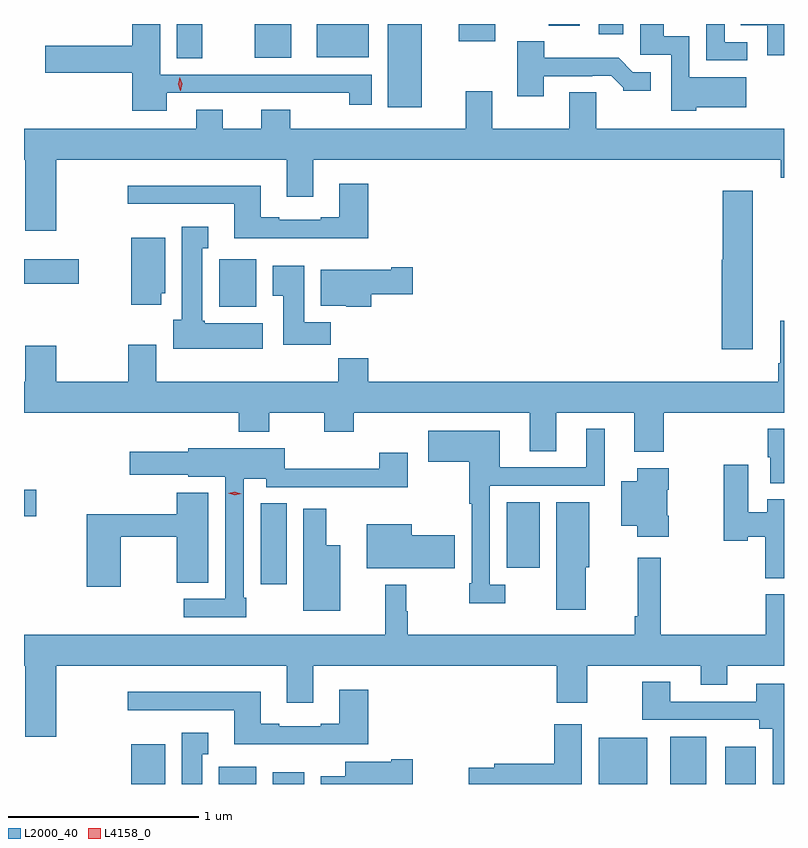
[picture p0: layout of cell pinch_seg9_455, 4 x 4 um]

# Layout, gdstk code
import gdstk
lib = gdstk.Library(unit=1e-6, precision=1e-09)
def R(c, l, rs):  # rectangles x0, y0, x1, y1
    for r in rs: c.add(gdstk.rectangle(r[:2], r[2:], *l))
def P(c, l, *ps):  # polygons
    for p in ps: c.add(gdstk.Polygon(p, *l))
L2000_40 = (2000, 40)
L4158_0 = (4158, 0)

pinch_seg9_455 = lib.new_cell('pinch_seg9_455')
R(pinch_seg9_455, L2000_40, [(345.386,1166.494,345.565,1166.704), (345.848,1166.494,346.045,1166.584), (346.13,1166.494,346.297,1166.557), (347.846,1166.494,348.103,1166.737), (348.224,1166.494,348.412,1166.743), (348.512,1166.494,348.673,1166.689), (346.067,1167.546,346.204,1167.971), (347.363,1167.632,347.536,1167.976), (344.822,1167.902,344.887,1168.044), (345.849,1169.006,346.045,1169.256), (344.822,1169.128,345.109,1169.257), (346.736,1170.056,346.915,1170.494), (345.626,1170.313,345.76,1170.494), (346.037,1170.317,346.228,1170.494), (346.364,1170.32,346.636,1170.494), (347.111,1170.404,347.302,1170.494), (347.846,1170.441,347.977,1170.494), (347.584,1170.485,347.746,1170.494)])
P(pinch_seg9_455, L2000_40, [(348.822,1170.494),(348.595,1170.494),(348.595,1170.488),(348.734,1170.488),(348.734,1170.33),(348.822,1170.33)],
  [(345.574,1170.132),(346.306,1170.132),(346.306,1170.131),(346.534,1170.131),(346.534,1170.069),(346.651,1170.069),(346.651,1170.228),(345.538,1170.228),(345.538,1170.494),(345.392,1170.494),(345.392,1170.38),(344.934,1170.38),(344.934,1170.238),(345.392,1170.238),(345.392,1170.038),(345.574,1170.038)],
  [(348.36,1170.056),(348.622,1170.056),(348.622,1170.214),(348.324,1170.214),(348.324,1170.43),(348.19,1170.43),(348.19,1170.494),(348.065,1170.494),(348.065,1170.333),(348.228,1170.333),(348.228,1170.038),(348.36,1170.038)],
  [(348.628,1170.399),(348.51,1170.399),(348.51,1170.494),(348.414,1170.494),(348.414,1170.303),(348.628,1170.303)],
  [(347.557,1170.219),(347.813,1170.219),(347.813,1170.222),(347.912,1170.222),(347.976,1170.158),(347.976,1170.143),(348.121,1170.143),(348.121,1170.24),(348.027,1170.24),(347.951,1170.316),(347.56,1170.316),(347.56,1170.403),(347.417,1170.403),(347.417,1170.114),(347.557,1170.114)],
  [(344.992,1169.78),(346.205,1169.78),(346.205,1169.586),(346.345,1169.586),(346.345,1169.78),(348.805,1169.78),(348.805,1169.684),(348.822,1169.684),(348.822,1169.944),(347.833,1169.944),(347.833,1170.134),(347.693,1170.134),(347.693,1169.944),(347.287,1169.944),(347.287,1170.139),(347.147,1170.139),(347.147,1169.944),(346.223,1169.944),(346.223,1170.043),(346.07,1170.043),(346.07,1169.944),(345.868,1169.944),(345.868,1170.043),(345.728,1170.043),(345.728,1169.944),(344.822,1169.944),(344.822,1169.78),(344.828,1169.78),(344.828,1169.406),(344.992,1169.406)],
  [(346.634,1169.653),(346.481,1169.653),(346.481,1169.476),(346.385,1169.476),(346.385,1169.463),(346.165,1169.463),(346.165,1169.476),(346.069,1169.476),(346.069,1169.644),(345.369,1169.644),(345.369,1169.547),(345.929,1169.547),(345.929,1169.366),(346.634,1169.366)],
  [(348.658,1169.617),(348.5,1169.617),(348.5,1169.253),(348.494,1169.253),(348.494,1168.782),(348.658,1168.782)],
  [(346.078,1168.918),(345.774,1168.918),(345.774,1168.932),(345.76,1168.932),(345.76,1169.315),(345.793,1169.315),(345.793,1169.428),(345.653,1169.428),(345.653,1168.938),(345.608,1168.938),(345.608,1168.784),(346.078,1168.784)],
  [(345.544,1169.076),(345.565,1169.076),(345.565,1169.368),(345.386,1169.368),(345.386,1169.016),(345.544,1169.016)],
  [(346.436,1168.924),(346.297,1168.924),(346.297,1169.221),(346.13,1169.221),(346.13,1169.065),(346.187,1169.065),(346.187,1168.806),(346.436,1168.806)],
  [(346.649,1169.071),(346.867,1169.071),(346.867,1169.213),(346.754,1169.213),(346.754,1169.2),(346.385,1169.2),(346.385,1169.012),(346.518,1169.012),(346.518,1169.006),(346.649,1169.006)],
  [(348.188,1168.448),(348.822,1168.448),(348.822,1168.933),(348.803,1168.933),(348.803,1168.708),(348.791,1168.708),(348.791,1168.612),(346.634,1168.612),(346.634,1168.736),(346.477,1168.736),(346.477,1168.612),(345.517,1168.612),(345.517,1168.807),(345.37,1168.807),(345.37,1168.612),(344.992,1168.612),(344.992,1168.801),(344.828,1168.801),(344.828,1168.612),(344.822,1168.612),(344.822,1168.448),(345.953,1168.448),(345.953,1168.349),(346.113,1168.349),(346.113,1168.448),(346.402,1168.448),(346.402,1168.349),(346.557,1168.349),(346.557,1168.448),(347.483,1168.448),(347.483,1168.246),(347.623,1168.246),(347.623,1168.448),(348.035,1168.448),(348.035,1168.242),(348.188,1168.242)],
  [(348.822,1168.363),(348.737,1168.363),(348.737,1168.215),(348.749,1168.215),(348.749,1168.077),(348.822,1168.077)],
  [(347.356,1167.543),(347.274,1167.543),(347.274,1168.065),(347.878,1168.065),(347.878,1168.363),(347.78,1168.363),(347.78,1168.161),(347.326,1168.161),(347.326,1168.354),(346.95,1168.354),(346.95,1168.189),(347.166,1168.189),(347.166,1167.968),(347.178,1167.968),(347.178,1167.55),(347.166,1167.55),(347.166,1167.446),(347.356,1167.446)],
  [(345.991,1167.475),(345.978,1167.475),(345.978,1168.1),(346.098,1168.1),(346.098,1168.056),(346.607,1168.056),(346.607,1168.055),(346.843,1168.055),(346.843,1168.237),(346.691,1168.237),(346.691,1168.154),(346.194,1168.154),(346.194,1168.261),(345.687,1168.261),(345.687,1168.243),(345.378,1168.243),(345.378,1168.121),(345.687,1168.121),(345.687,1168.112),(345.882,1168.112),(345.882,1167.468),(345.663,1167.468),(345.663,1167.372),(345.991,1167.372)],
  [(348.822,1167.992),(348.734,1167.992),(348.734,1167.925),(348.634,1167.925),(348.634,1168.174),(348.505,1168.174),(348.505,1167.773),(348.63,1167.773),(348.63,1167.796),(348.722,1167.796),(348.722,1167.577),(348.822,1167.577)],
  [(348.216,1167.907),(348.208,1167.907),(348.208,1168.043),(348.216,1168.043),(348.216,1168.156),(348.05,1168.156),(348.05,1168.087),(347.966,1168.087),(347.966,1167.854),(348.05,1167.854),(348.05,1167.795),(348.216,1167.795)],
  [(345.33,1167.796),(345.626,1167.796),(345.626,1167.553),(345.793,1167.553),(345.793,1168.027),(345.626,1168.027),(345.626,1167.914),(345.152,1167.914),(345.152,1167.531),(345.33,1167.531)],
  [(347.779,1167.636),(347.797,1167.636),(347.797,1167.976),(347.624,1167.976),(347.624,1167.411),(347.779,1167.411)],
  [(346.486,1167.751),(346.414,1167.751),(346.414,1167.943),(346.292,1167.943),(346.292,1167.407),(346.486,1167.407)],
  [(347.089,1167.804),(346.864,1167.804),(346.864,1167.862),(346.625,1167.862),(346.625,1167.629),(347.089,1167.629)],
  [(344.992,1167.116),(346.205,1167.116),(346.205,1166.922),(346.345,1166.922),(346.345,1167.116),(347.627,1167.116),(347.627,1166.922),(347.787,1166.922),(347.787,1167.116),(348.383,1167.116),(348.383,1167.017),(348.523,1167.017),(348.523,1167.116),(348.822,1167.116),(348.822,1167.492),(348.725,1167.492),(348.725,1167.28),(348.173,1167.28),(348.173,1167.685),(348.052,1167.685),(348.052,1167.376),(348.037,1167.376),(348.037,1167.28),(346.841,1167.28),(346.841,1167.404),(346.834,1167.404),(346.834,1167.544),(346.723,1167.544),(346.723,1167.28),(344.822,1167.28),(344.822,1167.116),(344.828,1167.116),(344.828,1166.742),(344.992,1166.742)],
  [(348.822,1167.022),(348.677,1167.022),(348.677,1166.928),(348.223,1166.928),(348.223,1167.031),(348.076,1167.031),(348.076,1166.832),(348.692,1166.832),(348.692,1166.786),(348.762,1166.786),(348.762,1166.494),(348.822,1166.494)],
  [(346.634,1166.989),(346.481,1166.989),(346.481,1166.812),(346.385,1166.812),(346.385,1166.799),(346.165,1166.799),(346.165,1166.812),(346.069,1166.812),(346.069,1166.98),(345.369,1166.98),(345.369,1166.883),(345.929,1166.883),(345.929,1166.702),(346.634,1166.702)],
  [(347.758,1166.809),(347.612,1166.809),(347.612,1166.6),(347.296,1166.6),(347.296,1166.58),(347.162,1166.58),(347.162,1166.494),(347.758,1166.494)],
  [(345.76,1166.651),(345.793,1166.651),(345.793,1166.764),(345.653,1166.764),(345.653,1166.494),(345.76,1166.494)],
  [(346.867,1166.624),(346.754,1166.624),(346.754,1166.611),(346.514,1166.611),(346.514,1166.536),(346.385,1166.536),(346.385,1166.494),(346.867,1166.494)])
P(pinch_seg9_455, L4158_0, [(345.93,1168.013),(345.896,1168.024),(345.895,1168.024),(345.896,1168.025),(345.931,1168.033),(345.965,1168.022),(345.965,1168.022),(345.965,1168.022)],
  [(345.645,1170.143),(345.645,1170.143),(345.634,1170.178),(345.642,1170.215),(345.643,1170.215),(345.643,1170.215),(345.654,1170.179),(345.646,1170.143)])

lib.write_gds('pinch_seg9_455.gds')
